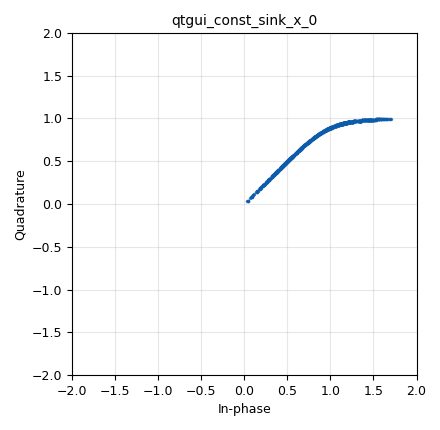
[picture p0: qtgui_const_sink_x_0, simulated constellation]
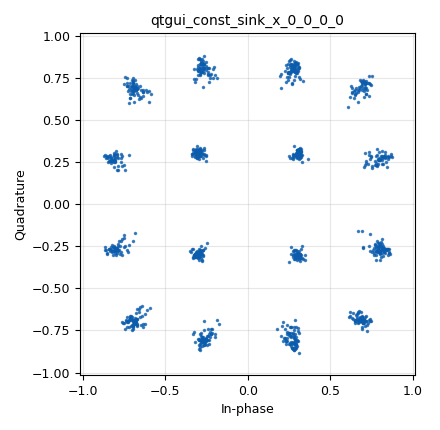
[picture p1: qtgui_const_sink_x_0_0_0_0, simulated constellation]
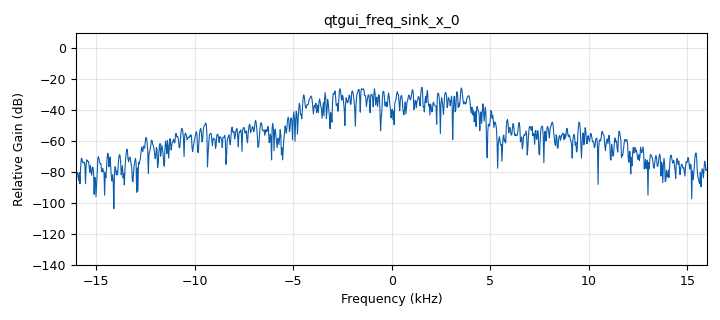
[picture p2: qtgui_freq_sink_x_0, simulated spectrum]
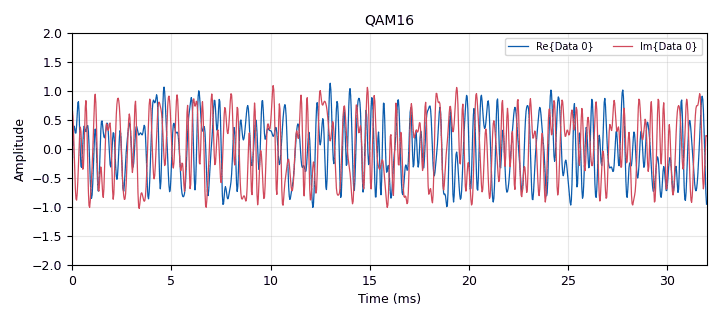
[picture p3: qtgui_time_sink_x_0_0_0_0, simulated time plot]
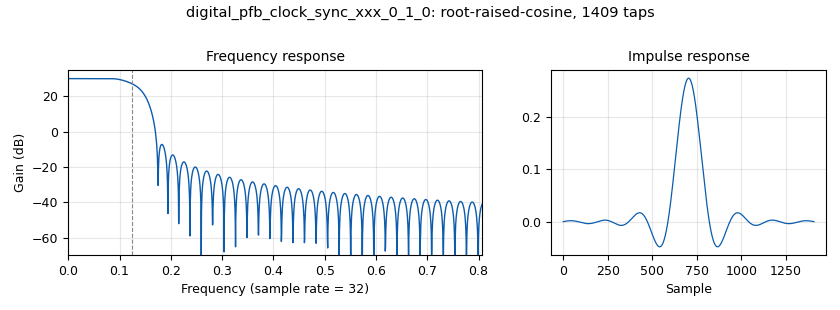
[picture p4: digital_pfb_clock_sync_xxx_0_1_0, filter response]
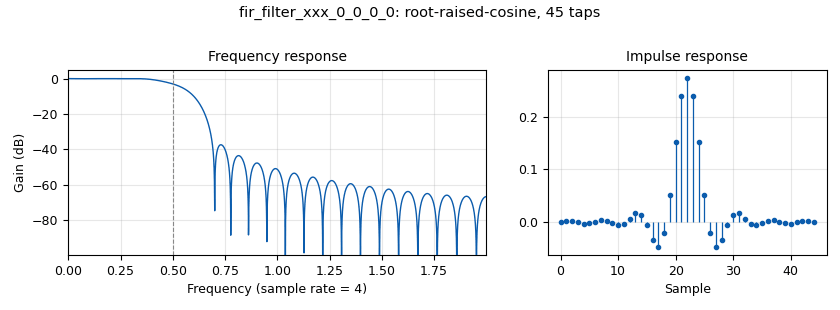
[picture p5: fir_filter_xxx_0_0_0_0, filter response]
options:
  parameters:
    generate_options: qt_gui
    id: default
    output_language: python
    title: QAM
  states: {}

blocks:
- name: excess_bw
  id: variable
  parameters:
    comment: '[excessive bandwidth] for cosine filter'
    value: '0.35'
  states: {}
- name: nfilts
  id: variable
  parameters:
    comment: The [number] of [Synchronized Filter Bank]
    value: '32'
  states: {}
- name: qam16
  id: variable_constellation
  parameters:
    precision: '8'
    type: 16qam
  states: {}
- name: rrc_taps
  id: variable
  parameters:
    value: firdes.root_raised_cosine(1, sps, 1, excess_bw, 45)
  states: {}
- name: rrc_taps_sync
  id: variable
  parameters:
    value: firdes.root_raised_cosine(nfilts, nfilts, 1.0/float(sps), excess_bw, 11*sps*nfilts)
  states: {}
- name: samp_rate
  id: variable
  parameters:
    comment: 采样率（32ksps）
    value: '32000'
  states: {}
- name: sps
  id: variable
  parameters:
    comment: The [number of samples] for every symbol
    value: '4'
  states: {}
- name: analog_random_source_x_0
  id: analog_random_source_x
  parameters:
    max: '256'
    min: '0'
    num_samps: '1024'
    repeat: 'True'
    type: byte
  states: {}
- name: blocks_complex_to_mag_0
  id: blocks_complex_to_mag
  parameters: {}
  states: {}
- name: blocks_complex_to_mag_1
  id: blocks_complex_to_mag
  parameters: {}
  states: {}
- name: blocks_float_to_complex_0
  id: blocks_float_to_complex
  parameters: {}
  states: {}
- name: blocks_throttle2_0
  id: blocks_throttle2
  parameters:
    samples_per_second: samp_rate
    type: complex
  states: {state: disabled}
- name: blocks_throttle_0_0_0_0
  id: blocks_throttle
  parameters:
    samples_per_second: samp_rate
    type: complex
  states: {}
- name: blocks_vector_source_x_0
  id: blocks_vector_source_x
  parameters:
    comment: |-
      55, 00, 01, 00, 55, 00, 11, 00, 55, 00, 51, 00
      BPSK：寻找1个尖、2个尖、3个尖
    repeat: 'True'
    type: byte
    vector: (0x55,0,0x01,0,0x55,0,0x11,0,0x55,0,0x51,0)
  states: {state: disabled}
- name: digital_constellation_modulator_0_0_0_0
  id: digital_constellation_modulator
  parameters:
    constellation: qam16
    differential: 'False'
    excess_bw: excess_bw
    samples_per_symbol: sps
  states: {}
- name: digital_pfb_clock_sync_xxx_0_1_0
  id: digital_pfb_clock_sync_xxx
  parameters:
    filter_size: nfilts
    init_phase: nfilts/2
    loop_bw: 6.28/100.0
    max_dev: '1.5'
    osps: '1'
    sps: sps
    taps: rrc_taps_sync
    type: ccf
  states: {}
- name: epy_block_0
  id: epy_block
  parameters:
    A_sat: '1.0'
    _source_code: |
      """
      Embedded Python Blocks:
       
      Each time this file is saved, GRC will instantiate the first class it finds
      to get ports and parameters of your block. The arguments to __init__  will
      be the parameters. All of them are required to have default values!
      """

      import numpy as np
      from gnuradio import gr


      class blk(gr.sync_block):  # other base classes are basic_block, decim_block, interp_block"
          """
          Simple Rapp model PA:
              y = x / (1 + (|x|/A_sat)^(2*p))^(1/(2*p))
          When p → ∞ 就变成硬限幅；p 越小转折越圆滑
          """
          def __init__(self, A_sat=1.0, p=2.0):  # only default arguments here
              """arguments to this function show up as parameters in GRC"""
              gr.sync_block.__init__(
                  self,
                  name='PA_model_Rapp',   # will show up in GRC
                  in_sig=[np.complex64],
                  out_sig=[np.complex64]
              )
              # if an attribute with the same name as a parameter is found,
              # a callback is registered (properties work, too).
              self.A_sat = A_sat
              self.p = p

          def work(self, input_items, output_items):
              x = input_items[0]
              y = x / (1.0 + (np.abs(x)/self.A_sat)**(2.0*self.p))**(1.0/(2.0*self.p))
              output_items[0][:] = y
              return len(output_items[0])
    p: '3'
  states: {}
- name: epy_block_1
  id: epy_block
  parameters:
    _source_code: |
      # Memory‑Polynomial Power Amplifier (PA_MP)
      import numpy as np
      from gnuradio import gr

      class blk(gr.sync_block):
          def __init__(self, coeff_mat=None):
              """
              coeff_mat : 2‑D numpy array, shape (P, M)
                  Row p, col m holds a_{p+1,m}
                  If None → 用内置示例系数
              """
              gr.sync_block.__init__(self,
                  name = "PA_model_Memory_Polynomial",
                  in_sig  = [np.complex64],
                  out_sig = [np.complex64])

              # 默认 5 阶、记忆 3
              if coeff_mat is None:
                  coeff_mat = np.array([
                      [ 1.00+0j , -0.02+0j , 0.00+0j ],   # p=1
                      [ 0.00+0j ,  0.00+0j , 0.00+0j ],   # p=2 (unused)
                      [-0.10+0j , -0.05+0j , 0.00+0j ],   # p=3
                      [ 0.00+0j ,  0.00+0j , 0.00+0j ],   # p=4
                      [ 0.02+0j ,  0.00+0j , 0.00+0j ],   # p=5
                  ], dtype=np.complex64)
              self.coeff = coeff_mat
              self.P, self.M = self.coeff.shape
              # 开辟记忆缓冲：每列一个滞后分量
              self.mem = np.zeros((self.M,), dtype=np.complex64)

          def work(self, input_items, output_items):
              x = input_items[0]
              y = np.empty_like(x)

              for n, xn in enumerate(x):
                  # 滚动缓冲区：mem[0] 是当前样本
                  self.mem[1:] = self.mem[:-1]
                  self.mem[0]  = xn
                  acc = 0+0j
                  for p in range(self.P):
                      # |x|^{p}（p 从 0 开始对应一阶项）
                      abs_pow = np.abs(self.mem) ** p
                      acc += np.sum(self.coeff[p, :] * self.mem * abs_pow)
                  y[n] = acc
              output_items[0][:] = y
              return len(y)
    coeff_mat: None
  states: {state: disabled}
- name: fir_filter_xxx_0_0_0_0
  id: fir_filter_xxx
  parameters:
    decim: '1'
    taps: rrc_taps
    type: ccc
  states: {}
- name: qtgui_const_sink_x_0
  id: qtgui_const_sink_x
  parameters:
    size: '1024'
    type: complex
  states: {}
- name: qtgui_const_sink_x_0_0_0_0
  id: qtgui_const_sink_x
  parameters:
    autoscale: 'True'
    gui_hint: 3,2,1,1
    size: '1024'
    type: complex
  states: {}
- name: qtgui_freq_sink_x_0
  id: qtgui_freq_sink_x
  parameters:
    bw: samp_rate
    fc: '0'
    fftsize: '1024'
    type: complex
  states: {}
- name: qtgui_time_sink_x_0_0_0_0
  id: qtgui_time_sink_x
  parameters:
    alpha1: '0.5'
    alpha2: '0.5'
    grid: 'True'
    gui_hint: 3,0,1,2
    label1: ''
    label2: ''
    name: '"QAM16"'
    size: '1024'
    srate: samp_rate
    tr_mode: qtgui.TRIG_MODE_NORM
    type: complex
    ymax: '2'
    ymin: '-2'
  states: {}

connections:
- [analog_random_source_x_0, '0', digital_constellation_modulator_0_0_0_0, '0']
- [blocks_complex_to_mag_0, '0', blocks_float_to_complex_0, '1']
- [blocks_complex_to_mag_1, '0', blocks_float_to_complex_0, '0']
- [blocks_float_to_complex_0, '0', qtgui_const_sink_x_0, '0']
- [blocks_throttle2_0, '0', blocks_complex_to_mag_0, '0']
- [blocks_throttle2_0, '0', digital_pfb_clock_sync_xxx_0_1_0, '0']
- [blocks_throttle2_0, '0', fir_filter_xxx_0_0_0_0, '0']
- [blocks_throttle2_0, '0', qtgui_freq_sink_x_0, '0']
- [blocks_throttle_0_0_0_0, '0', digital_pfb_clock_sync_xxx_0_1_0, '0']
- [blocks_throttle_0_0_0_0, '0', fir_filter_xxx_0_0_0_0, '0']
- [blocks_throttle_0_0_0_0, '0', qtgui_freq_sink_x_0, '0']
- [blocks_vector_source_x_0, '0', digital_constellation_modulator_0_0_0_0, '0']
- [digital_constellation_modulator_0_0_0_0, '0', blocks_complex_to_mag_1, '0']
- [digital_constellation_modulator_0_0_0_0, '0', blocks_throttle2_0, '0']
- [digital_constellation_modulator_0_0_0_0, '0', epy_block_0, '0']
- [digital_constellation_modulator_0_0_0_0, '0', epy_block_1, '0']
- [digital_pfb_clock_sync_xxx_0_1_0, '0', qtgui_const_sink_x_0_0_0_0, '0']
- [epy_block_0, '0', blocks_complex_to_mag_0, '0']
- [epy_block_0, '0', blocks_throttle_0_0_0_0, '0']
- [epy_block_1, '0', blocks_throttle_0_0_0_0, '0']
- [fir_filter_xxx_0_0_0_0, '0', qtgui_time_sink_x_0_0_0_0, '0']

metadata:
  file_format: 1
  grc_version: 3.10.12.0
